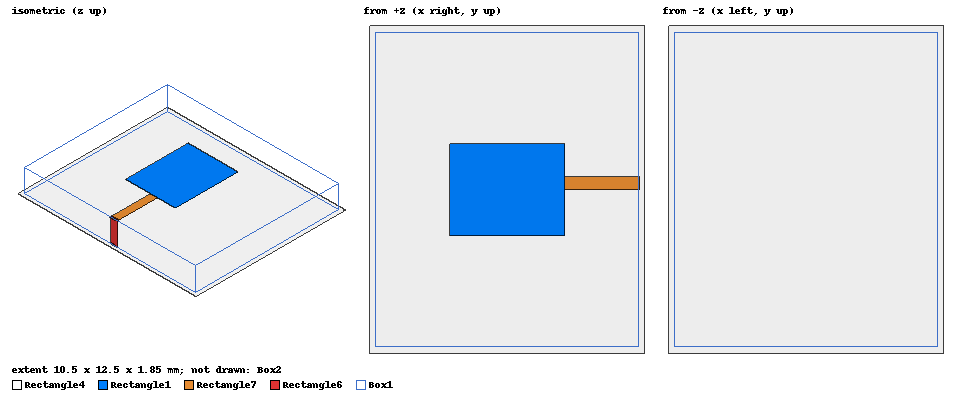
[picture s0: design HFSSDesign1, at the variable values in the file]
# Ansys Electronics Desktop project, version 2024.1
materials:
  vacuum: permittivity=1
  FR4_epoxy: permittivity=4.4 dielectric_loss_tangent=0.02

design HFSSDesign1 (HFSS, HFSS Terminal Network, model units mm)
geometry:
  Box1 [vacuum] = box(corner=(0mm, 0mm, 0mm), size=(10mm, 12mm, 1.6mm))
  Rectangle1 = rectangle(corner=(2.8mm, 4.25mm, 1.6mm), x_size=4.4mm, y_size=3.5mm)
  Rectangle4 = rectangle(corner=(-0.25mm, -0.25mm, 0mm), x_size=10.5mm, y_size=12.5mm)
  Rectangle6 = rectangle(corner=(10mm, 6mm, -0.15mm), y_size=0.5mm, z_size=1.85mm)
  Rectangle7 = rectangle(corner=(7.2mm, 6mm, 1.6mm), x_size=2.85mm, y_size=0.5mm)
  Box2 [vacuum] = box(corner=(-2.75mm, -2.85mm, -2.95mm), size=(15.5mm, 17.7mm, 7.5mm))
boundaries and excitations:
  RadiatingElement: Perfect E Objects=Rectangle1
  GroundPlane: Perfect E Objects=Rectangle4
  Feed_line: Perfect E Objects=Rectangle7
  AirBox: Radiation Objects=Box2
  1: Lumped Port Objects=Rectangle6 LumpedPortType=Modal Modes{Mode1{IntLine{(10, 6.25, 1.7) -> (10, 6.25, -0.15)} CharImp=Zpi RenormImp=50ohm}} Impedance=50ohm
  reference conductors: Rectangle1
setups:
  Setup2: HfssDriven Frequency=28GHz MaxDeltaS=0.005 MaximumPasses=10 MinimumPasses=1 MinimumConvergedPasses=1 PercentRefinement=30 BasisOrder=1 PortAccuracy=2 DrivenSolverType="Direct Solver"
    sweep Sweep: 26GHz to 30GHz, 401 points; Type=Interpolating InterpTolerance=0.5 InterpMaxSolns=250 PassivityErrorTolerance=0.0001
    sweep Sweep1: 26GHz to 30GHz, 401 points; Type=Interpolating InterpTolerance=0.5 InterpMaxSolns=250 PassivityErrorTolerance=0.0001
    sweep Sweep2: 26GHz to 30GHz, 401 points; Type=Discrete
    sweep Sweep3: 26GHz to 30GHz step 0.07GHz; Type=Discrete SaveFields
    sweep Sweep4: 14GHz to 42GHz, 401 points; Type=Interpolating SaveFields InterpTolerance=0.5 InterpMaxSolns=250 PassivityErrorTolerance=0.0001
    sweep Sweep5: 14GHz to 42GHz step 0.07GHz; Type=Discrete SaveFields
    sweep Sweep6: 14GHz to 47GHz step 0.07GHz; Type=Discrete
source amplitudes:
  1:1: 1V 0deg
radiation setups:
  InfiniteSphere: Infinite Sphere Theta=0deg..180deg step 2deg Phi=-180deg..180deg step 2deg
  Infinite Sphere1: Infinite Sphere Theta=0deg..180deg step 2deg Phi=-180deg..180deg step 2deg
